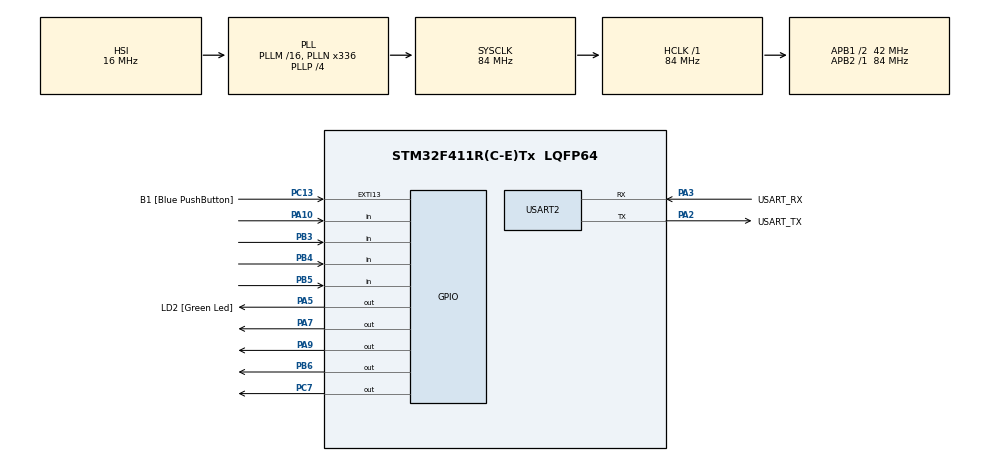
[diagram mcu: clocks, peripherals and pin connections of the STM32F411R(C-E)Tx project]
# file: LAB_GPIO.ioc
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Mcu.Family=STM32F4
Mcu.Name=STM32F411R(C-E)Tx
Mcu.Package=LQFP64
NVIC.PriorityGroup=NVIC_PRIORITYGROUP_0
PA10.Signal=GPIO_Input
PA13.GPIO_Label=TMS
PA13.Mode=Serial_Wire
PA13.Signal=SYS_JTMS-SWDIO
PA14.GPIO_Label=TCK
PA14.Mode=Serial_Wire
PA14.Signal=SYS_JTCK-SWCLK
PA2.GPIO_Label=USART_TX
PA2.Mode=Asynchronous
PA2.Signal=USART2_TX
PA3.GPIO_Label=USART_RX
PA3.Mode=Asynchronous
PA3.Signal=USART2_RX
PA5.GPIO_Label=LD2 [Green Led]
PA5.Signal=GPIO_Output
PA7.Signal=GPIO_Output
PA9.Signal=GPIO_Output
PB3.Signal=GPIO_Input
PB4.Signal=GPIO_Input
PB5.Signal=GPIO_Input
PB6.Signal=GPIO_Output
PC13-ANTI_TAMP.GPIO_Label=B1 [Blue PushButton]
PC13-ANTI_TAMP.GPIO_ModeDefaultEXTI=GPIO_MODE_IT_FALLING
PC13-ANTI_TAMP.Signal=GPXTI13
PC14-OSC32_IN.Mode=LSE-External-Oscillator
PC14-OSC32_IN.Signal=RCC_OSC32_IN
PC15-OSC32_OUT.Mode=LSE-External-Oscillator
PC15-OSC32_OUT.Signal=RCC_OSC32_OUT
PC7.Signal=GPIO_Output
PH0\ -\ OSC_IN.Mode=HSE-External-Clock-Source
PH0\ -\ OSC_IN.Signal=RCC_OSC_IN
PH1\ -\ OSC_OUT.Mode=HSE-External-Clock-Source
PH1\ -\ OSC_OUT.Signal=RCC_OSC_OUT
ProjectManager.HeapSize=0x200
ProjectManager.StackSize=0x400
ProjectManager.TargetToolchain=STM32CubeIDE
RCC.48MHZClocksFreq_Value=84000000
RCC.AHBFreq_Value=84000000
RCC.APB1CLKDivider=RCC_HCLK_DIV2
RCC.APB1Freq_Value=42000000
RCC.APB1TimFreq_Value=84000000
RCC.APB2Freq_Value=84000000
RCC.APB2TimFreq_Value=84000000
RCC.CortexFreq_Value=84000000
RCC.FLatency-AdvancedSettings=FLASH_LATENCY_2
RCC.HCLKFreq_Value=84000000
RCC.HSE_VALUE=8000000
RCC.HSI_VALUE=16000000
RCC.PLLN=336
RCC.PLLP=RCC_PLLP_DIV4
RCC.SYSCLKFreq_VALUE=84000000
RCC.SYSCLKSource=RCC_SYSCLKSOURCE_PLLCLK
RCC.VCOOutputFreq_Value=336000000
USART2.VirtualMode=VM_ASYNC
board=NUCLEO-F411RE

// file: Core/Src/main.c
/* USER CODE BEGIN Header */
/**
  ******************************************************************************
  * @file           : main.c
  * @brief          : Main program body
  ******************************************************************************
  * @attention
  *
  * <h2><center>&copy; Copyright (c) 2021 STMicroelectronics.
  * All rights reserved.</center></h2>
  *
  * This software component is licensed by ST under BSD 3-Clause license,
  * the "License"; You may not use this file except in compliance with the
  * License. You may obtain a copy of the License at:
  *                        opensource.org/licenses/BSD-3-Clause
  *
  ******************************************************************************
  */
/* USER CODE END Header */
#include "main.h"

UART_HandleTypeDef huart2;

void SystemClock_Config(void);
static void MX_GPIO_Init(void);
static void MX_USART2_UART_Init(void);

int main(void)
{

  /* MCU Configuration--------------------------------------------------------*/

  /* Reset of all peripherals, Initializes the Flash interface and the Systick. */
  HAL_Init();

  /* Configure the system clock */
  SystemClock_Config();

  /* Initialize all configured peripherals */
  MX_GPIO_Init();
  MX_USART2_UART_Init();
  /* USER CODE BEGIN 2 */
  uint8_t stateforone=1;
  uint8_t statesone[2];
  uint8_t statestwo[2];
  uint8_t statesthree[2];
  uint8_t statesfour[2];
  uint32_t led1realhaft=0;
  uint32_t timestamp1=0;
  uint32_t timeslimping=0;
  uint8_t statefortwo=1;
  uint8_t stateforthree=1;
  uint8_t ledcontrolthree=1;
  uint8_t onoffthree=1;
  uint32_t timestampforthree=0;
  uint32_t timestamppercent=100;
  double f=44;
  uint8_t stateforfour=1;
  uint8_t percentpwm=0;
  uint8_t stateusefour=1;
  double Ton=0;
  double Tall=0;
  double Toff=0;
  enum{
	  zero=0,one,two,three,four,five,LED1HAFT1=1000,LED1HAFT2=500,LED1HAFT3=250,LED1HAFT4=166,samplingtime=100,
	  oneoffour=25,haft=50,three0ffour=75,full=100
  };
  /* USER CODE END 2 */

  /* Infinite loop */
  /* USER CODE BEGIN WHILE */

  while (1)
  {
	if(HAL_GetTick()-timeslimping>=samplingtime){
	timeslimping=HAL_GetTick();
	statesone[0]=HAL_GPIO_ReadPin(GPIOA, GPIO_PIN_10);
	statestwo[0]=HAL_GPIO_ReadPin(GPIOB, GPIO_PIN_3);
	statesthree[0]=HAL_GPIO_ReadPin(GPIOB, GPIO_PIN_5);
	statesfour[0]=HAL_GPIO_ReadPin(GPIOB, GPIO_PIN_4);
	switch(stateforone){
		case(one):
			if(statesone[0]==GPIO_PIN_SET && statesone[1]==GPIO_PIN_RESET){
				stateforone=two;
			}else{
				led1realhaft=LED1HAFT1;
			}
		break;
		case(two):
			if(statesone[0]==GPIO_PIN_SET && statesone[1]==GPIO_PIN_RESET){
				stateforone=three;
			}else{
				led1realhaft=LED1HAFT2;
			}
		break;
		case(three):
			if(statesone[0]==GPIO_PIN_SET && statesone[1]==GPIO_PIN_RESET){
				stateforone=four;
			}else{
				led1realhaft=LED1HAFT3;
			}
		break;
		case(four):
			if(statesone[0]==GPIO_PIN_SET && statesone[1]==GPIO_PIN_RESET){
				stateforone=one;
			}else{
				led1realhaft=LED1HAFT4;
			}
		break;
	}
	switch(statefortwo){
		case(one):
			if(statestwo[0]==GPIO_PIN_SET && statestwo[1]==GPIO_PIN_RESET){
				statefortwo=two;
			}else{
				HAL_GPIO_WritePin(GPIOC, GPIO_PIN_7, GPIO_PIN_SET);
			}
		break;
		case(two):
			if(statestwo[0]==GPIO_PIN_SET && statestwo[1]==GPIO_PIN_RESET){
				statefortwo=one;
			}else{
				HAL_GPIO_WritePin(GPIOC, GPIO_PIN_7, GPIO_PIN_RESET);
			}
			break;
	}
	switch(stateforthree){
		case(one):
			if(statesthree[0]==GPIO_PIN_SET && statesthree[1]==GPIO_PIN_RESET){
				stateforthree=two;
			}else{
				ledcontrolthree=one;
			}
		break;
		case(two):
			if(statesthree[0]==GPIO_PIN_SET && statesthree[1]==GPIO_PIN_RESET){
				stateforthree=one;
			}else{
				ledcontrolthree=two;
			}
			break;
	}
	switch(stateforfour){
			case(one):
				if(statesfour[0]==GPIO_PIN_SET && statesfour[1]==GPIO_PIN_RESET){
					stateforfour=two;
				}else{
					percentpwm=zero;
				}
			break;
			case(two):
				if(statesfour[0]==GPIO_PIN_SET && statesfour[1]==GPIO_PIN_RESET){
					stateforfour=three;
				}else{
					percentpwm=oneoffour;
				}
				break;
			case(three):
				if(statesfour[0]==GPIO_PIN_SET && statesfour[1]==GPIO_PIN_RESET){
					stateforfour=four;
				}else{
					percentpwm=haft;
				}
				break;
			case(four):
				if(statesfour[0]==GPIO_PIN_SET && statesfour[1]==GPIO_PIN_RESET){
					stateforfour=five;
				}else{
					percentpwm=three0ffour;
				}
				break;
			case(five):
				if(statesfour[0]==GPIO_PIN_SET && statesfour[1]==GPIO_PIN_RESET){
					stateforfour=one;
				}else{
					percentpwm=full;
				}
				break;

	}

	statesone[1]=statesone[0];
	statestwo[1]=statestwo[0];
	statesthree[1]=statesthree[0];
	statesfour[1]=statesfour[0];

	}

    /* USER CODE END WHILE */

    /* USER CODE BEGIN 3 */
	if(HAL_GetTick()-timestamp1>=led1realhaft){
		timestamp1=HAL_GetTick();
		if(HAL_GPIO_ReadPin(GPIOA, GPIO_PIN_9)==GPIO_PIN_SET){
			HAL_GPIO_WritePin(GPIOA, GPIO_PIN_9, GPIO_PIN_RESET);
		}else{
			HAL_GPIO_WritePin(GPIOA, GPIO_PIN_9, GPIO_PIN_SET);
		}
	}

	switch(ledcontrolthree){
		case(one):
			switch(onoffthree){
				case(one):
					if(HAL_GetTick()-timestampforthree>=500){
						timestampforthree=HAL_GetTick();
						onoffthree=two;
					}else{
						HAL_GPIO_WritePin(GPIOB, GPIO_PIN_6, GPIO_PIN_RESET);
					}

				break;
				case(two):
					if(HAL_GetTick()-timestampforthree>=1500){
						timestampforthree=HAL_GetTick();
						onoffthree=one;
					}else{
						HAL_GPIO_WritePin(GPIOB, GPIO_PIN_6, GPIO_PIN_SET);
					}

				break;
			}
		break;
		case(two):
				switch(onoffthree){
					case(one):
						if(HAL_GetTick()-timestampforthree>=1500){
							timestampforthree=HAL_GetTick();
							onoffthree=two;
						}else{
							HAL_GPIO_WritePin(GPIOB, GPIO_PIN_6, GPIO_PIN_RESET);
						}

					break;
					case(two):
						if(HAL_GetTick()-timestampforthree>=500){
							timestampforthree=HAL_GetTick();
							onoffthree=one;
						}else{
							HAL_GPIO_WritePin(GPIOB, GPIO_PIN_6, GPIO_PIN_SET);
						}

					break;
					}
		break;
	}

	Tall=1/f;
	Ton=(percentpwm*Tall)/100;
	Toff=Tall-Ton;
	if(percentpwm!=zero){
		switch(stateusefour){
				case(one):
					if(HAL_GetTick()-timestamppercent>=Ton*1000){
						timestamppercent=HAL_GetTick();
						stateusefour=two;
					}
					HAL_GPIO_WritePin(GPIOA, GPIO_PIN_7, GPIO_PIN_RESET);
				break;
				case(two):
					if(HAL_GetTick()-timestamppercent>=Toff*1000){
						timestamppercent=HAL_GetTick();
						stateusefour=one;
					}
					HAL_GPIO_WritePin(GPIOA, GPIO_PIN_7, GPIO_PIN_SET);

				break;
			}
	}else{
		HAL_GPIO_WritePin(GPIOA, GPIO_PIN_7, GPIO_PIN_SET);
	}

  }
  /* USER CODE END 3 */
}

void SystemClock_Config(void)
{
  RCC_OscInitTypeDef RCC_OscInitStruct = {0};
  RCC_ClkInitTypeDef RCC_ClkInitStruct = {0};

  /** Configure the main internal regulator output voltage
  */
  __HAL_RCC_PWR_CLK_ENABLE();
  __HAL_PWR_VOLTAGESCALING_CONFIG(PWR_REGULATOR_VOLTAGE_SCALE1);
  /** Initializes the RCC Oscillators according to the specified parameters
  * in the RCC_OscInitTypeDef structure.
  */
  RCC_OscInitStruct.OscillatorType = RCC_OSCILLATORTYPE_HSI;
  RCC_OscInitStruct.HSIState = RCC_HSI_ON;
  RCC_OscInitStruct.HSICalibrationValue = RCC_HSICALIBRATION_DEFAULT;
  RCC_OscInitStruct.PLL.PLLState = RCC_PLL_ON;
  RCC_OscInitStruct.PLL.PLLSource = RCC_PLLSOURCE_HSI;
  RCC_OscInitStruct.PLL.PLLM = 16;
  RCC_OscInitStruct.PLL.PLLN = 336;
  RCC_OscInitStruct.PLL.PLLP = RCC_PLLP_DIV4;
  RCC_OscInitStruct.PLL.PLLQ = 4;
  if (HAL_RCC_OscConfig(&RCC_OscInitStruct) != HAL_OK)
  {
    Error_Handler();
  }
  /** Initializes the CPU, AHB and APB buses clocks
  */
  RCC_ClkInitStruct.ClockType = RCC_CLOCKTYPE_HCLK|RCC_CLOCKTYPE_SYSCLK
                              |RCC_CLOCKTYPE_PCLK1|RCC_CLOCKTYPE_PCLK2;
  RCC_ClkInitStruct.SYSCLKSource = RCC_SYSCLKSOURCE_PLLCLK;
  RCC_ClkInitStruct.AHBCLKDivider = RCC_SYSCLK_DIV1;
  RCC_ClkInitStruct.APB1CLKDivider = RCC_HCLK_DIV2;
  RCC_ClkInitStruct.APB2CLKDivider = RCC_HCLK_DIV1;

  if (HAL_RCC_ClockConfig(&RCC_ClkInitStruct, FLASH_LATENCY_2) != HAL_OK)
  {
    Error_Handler();
  }
}

static void MX_USART2_UART_Init(void)
{

  huart2.Instance = USART2;
  huart2.Init.BaudRate = 115200;
  huart2.Init.WordLength = UART_WORDLENGTH_8B;
  huart2.Init.StopBits = UART_STOPBITS_1;
  huart2.Init.Parity = UART_PARITY_NONE;
  huart2.Init.Mode = UART_MODE_TX_RX;
  huart2.Init.HwFlowCtl = UART_HWCONTROL_NONE;
  huart2.Init.OverSampling = UART_OVERSAMPLING_16;
  if (HAL_UART_Init(&huart2) != HAL_OK)
  {
    Error_Handler();
  }

}

static void MX_GPIO_Init(void)
{
  GPIO_InitTypeDef GPIO_InitStruct = {0};

  /* GPIO Ports Clock Enable */
  __HAL_RCC_GPIOC_CLK_ENABLE();
  __HAL_RCC_GPIOH_CLK_ENABLE();
  __HAL_RCC_GPIOA_CLK_ENABLE();
  __HAL_RCC_GPIOB_CLK_ENABLE();

  /*Configure GPIO pin Output Level */
  HAL_GPIO_WritePin(GPIOA, LD2_Pin|GPIO_PIN_7|GPIO_PIN_9, GPIO_PIN_RESET);

  /*Configure GPIO pin Output Level */
  HAL_GPIO_WritePin(GPIOC, GPIO_PIN_7, GPIO_PIN_RESET);

  /*Configure GPIO pin Output Level */
  HAL_GPIO_WritePin(GPIOB, GPIO_PIN_6, GPIO_PIN_RESET);

  /*Configure GPIO pin : B1_Pin */
  GPIO_InitStruct.Pin = B1_Pin;
  GPIO_InitStruct.Mode = GPIO_MODE_IT_FALLING;
  GPIO_InitStruct.Pull = GPIO_NOPULL;
  HAL_GPIO_Init(B1_GPIO_Port, &GPIO_InitStruct);

  /*Configure GPIO pins : LD2_Pin PA7 PA9 */
  GPIO_InitStruct.Pin = LD2_Pin|GPIO_PIN_7|GPIO_PIN_9;
  GPIO_InitStruct.Mode = GPIO_MODE_OUTPUT_PP;
  GPIO_InitStruct.Pull = GPIO_NOPULL;
  GPIO_InitStruct.Speed = GPIO_SPEED_FREQ_LOW;
  HAL_GPIO_Init(GPIOA, &GPIO_InitStruct);

  /*Configure GPIO pin : PC7 */
  GPIO_InitStruct.Pin = GPIO_PIN_7;
  GPIO_InitStruct.Mode = GPIO_MODE_OUTPUT_PP;
  GPIO_InitStruct.Pull = GPIO_NOPULL;
  GPIO_InitStruct.Speed = GPIO_SPEED_FREQ_LOW;
  HAL_GPIO_Init(GPIOC, &GPIO_InitStruct);

  /*Configure GPIO pin : PA10 */
  GPIO_InitStruct.Pin = GPIO_PIN_10;
  GPIO_InitStruct.Mode = GPIO_MODE_INPUT;
  GPIO_InitStruct.Pull = GPIO_NOPULL;
  HAL_GPIO_Init(GPIOA, &GPIO_InitStruct);

  /*Configure GPIO pins : PB3 PB4 PB5 */
  GPIO_InitStruct.Pin = GPIO_PIN_3|GPIO_PIN_4|GPIO_PIN_5;
  GPIO_InitStruct.Mode = GPIO_MODE_INPUT;
  GPIO_InitStruct.Pull = GPIO_NOPULL;
  HAL_GPIO_Init(GPIOB, &GPIO_InitStruct);

  /*Configure GPIO pin : PB6 */
  GPIO_InitStruct.Pin = GPIO_PIN_6;
  GPIO_InitStruct.Mode = GPIO_MODE_OUTPUT_PP;
  GPIO_InitStruct.Pull = GPIO_NOPULL;
  GPIO_InitStruct.Speed = GPIO_SPEED_FREQ_LOW;
  HAL_GPIO_Init(GPIOB, &GPIO_InitStruct);

}

void Error_Handler(void)
{
  __disable_irq();
  while (1)
  {
  }
}

/************************ (C) COPYRIGHT STMicroelectronics *****END OF FILE****/
